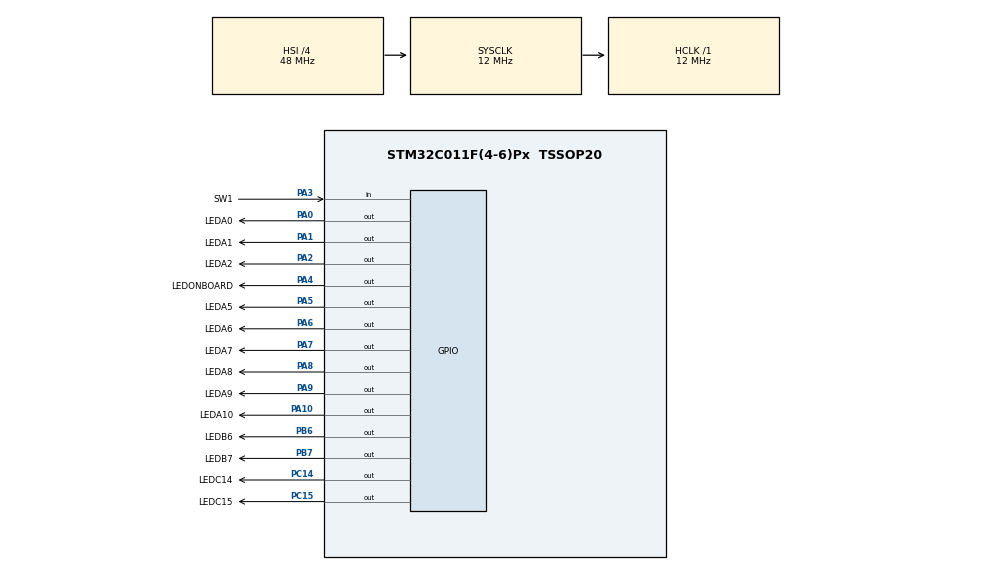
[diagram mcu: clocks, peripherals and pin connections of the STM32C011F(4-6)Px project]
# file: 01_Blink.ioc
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Mcu.Family=STM32C0
Mcu.Name=STM32C011F(4-6)Px
Mcu.Package=TSSOP20
PA0.GPIO_Label=LEDA0
PA0.Signal=GPIO_Output
PA1.GPIO_Label=LEDA1
PA1.Signal=GPIO_Output
PA10\ [PA12].GPIO_Label=LEDA10
PA10\ [PA12].Signal=GPIO_Output
PA13.Mode=Serial_Wire
PA13.Signal=DEBUG_SWDIO
PA14-BOOT0.Mode=Serial_Wire
PA14-BOOT0.Signal=DEBUG_SWCLK
PA2.GPIO_Label=LEDA2
PA2.Signal=GPIO_Output
PA3.GPIO_Label=SW1
PA3.GPIO_PuPd=GPIO_PULLUP
PA3.Signal=GPIO_Input
PA4.GPIO_Label=LEDONBOARD
PA4.Signal=GPIO_Output
PA5.GPIO_Label=LEDA5
PA5.Signal=GPIO_Output
PA6.GPIO_Label=LEDA6
PA6.Signal=GPIO_Output
PA7.GPIO_Label=LEDA7
PA7.Signal=GPIO_Output
PA8.GPIO_Label=LEDA8
PA8.Signal=GPIO_Output
PA9\ [PA11].GPIO_Label=LEDA9
PA9\ [PA11].Signal=GPIO_Output
PB6.GPIO_Label=LEDB6
PB6.Signal=GPIO_Output
PB7.GPIO_Label=LEDB7
PB7.Signal=GPIO_Output
PC14-OSCX_IN\ (PC14).GPIO_Label=LEDC14
PC14-OSCX_IN\ (PC14).Signal=GPIO_Output
PC15-OSCX_OUT\ (PC15).GPIO_Label=LEDC15
PC15-OSCX_OUT\ (PC15).Signal=GPIO_Output
ProjectManager.HeapSize=0x200
ProjectManager.StackSize=0x400
ProjectManager.TargetToolchain=STM32CubeIDE
RCC.ADCFreq_Value=12000000
RCC.AHBFreq_Value=12000000
RCC.CortexFreq_Value=12000000
RCC.EXTERNAL_CLOCK_VALUE=12288000
RCC.HCLKFreq_Value=12000000
RCC.HSE_VALUE=8000000
RCC.HSI_VALUE=48000000
RCC.LSE_VALUE=32768
RCC.SYSCLKFreq_VALUE=12000000
VP_SYS_VS_PINREMAP.Mode=PINREMAP
VP_SYS_VS_PINREMAP_10_12.Mode=PINREMAP_10_12
board=custom

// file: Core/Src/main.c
/* USER CODE BEGIN Header */
/**
  ******************************************************************************
  * @file           : main.c
  * @brief          : Main program body
  ******************************************************************************
  * @attention
  *
  * Copyright (c) 2026 STMicroelectronics.
  * All rights reserved.
  *
  * This software is licensed under terms that can be found in the LICENSE file
  * in the root directory of this software component.
  * If no LICENSE file comes with this software, it is provided AS-IS.
  *
  ******************************************************************************
  */
/* USER CODE END Header */
#include "main.h"
#include "gpio.h"

void SystemClock_Config(void);

/* USER CODE BEGIN 0 */
void SwDelay()
{
	// A cada delay 'inverte' o LEDONBOARD
	HAL_GPIO_TogglePin(LEDONBOARD_GPIO_Port, LEDONBOARD_Pin);
	if (HAL_GPIO_ReadPin(SW1_GPIO_Port, SW1_Pin))
		HAL_Delay(100);
	else
		HAL_Delay(500);
}
/* USER CODE END 0 */

int main(void)
{

  /* MCU Configuration--------------------------------------------------------*/

  /* Reset of all peripherals, Initializes the Flash interface and the Systick. */
  HAL_Init();

  /* Configure the system clock */
  SystemClock_Config();

  /* Initialize all configured peripherals */
  MX_GPIO_Init();

  /* Infinite loop */
  /* USER CODE BEGIN WHILE */
  while (1)
  {
	  // Pisca o LEDONBOARD e cada led na ordam da PCB:  B7-C14-C15-A0-A1-A2-A5-A6-A8-A9-A10-B6-A7
	  // Se a tecla SW1 em A3 estiver pressionada pisca mais rapidamente
	  HAL_GPIO_WritePin(LEDB7_GPIO_Port, LEDB7_Pin, 1);	  SwDelay();
	  HAL_GPIO_WritePin(LEDB7_GPIO_Port, LEDB7_Pin, 0);	  SwDelay();

	  HAL_GPIO_WritePin(LEDC14_GPIO_Port, LEDC14_Pin, 1);	  SwDelay();
	  HAL_GPIO_WritePin(LEDC14_GPIO_Port, LEDC14_Pin, 0);	  SwDelay();

	  HAL_GPIO_WritePin(LEDC15_GPIO_Port, LEDC15_Pin, 1);	  SwDelay();
	  HAL_GPIO_WritePin(LEDC15_GPIO_Port, LEDC15_Pin, 0);	  SwDelay();

	  HAL_GPIO_WritePin(LEDA0_GPIO_Port, LEDA0_Pin, 1);	  SwDelay();
	  HAL_GPIO_WritePin(LEDA0_GPIO_Port, LEDA0_Pin, 0);	  SwDelay();

	  HAL_GPIO_WritePin(LEDA1_GPIO_Port, LEDA1_Pin, 1);	  SwDelay();
	  HAL_GPIO_WritePin(LEDA1_GPIO_Port, LEDA1_Pin, 0);	  SwDelay();

	  HAL_GPIO_WritePin(LEDA2_GPIO_Port, LEDA2_Pin, 1);	  SwDelay();
	  HAL_GPIO_WritePin(LEDA2_GPIO_Port, LEDA2_Pin, 0);	  SwDelay();

	  HAL_GPIO_WritePin(LEDA5_GPIO_Port, LEDA5_Pin, 1);	  SwDelay();
	  HAL_GPIO_WritePin(LEDA5_GPIO_Port, LEDA5_Pin, 0);	  SwDelay();

	  HAL_GPIO_WritePin(LEDA6_GPIO_Port, LEDA6_Pin, 1);	  SwDelay();
	  HAL_GPIO_WritePin(LEDA6_GPIO_Port, LEDA6_Pin, 0);	  SwDelay();

	  HAL_GPIO_WritePin(LEDA8_GPIO_Port, LEDA8_Pin, 1);	  SwDelay();
	  HAL_GPIO_WritePin(LEDA8_GPIO_Port, LEDA8_Pin, 0);	  SwDelay();

	  HAL_GPIO_WritePin(LEDA9_GPIO_Port, LEDA9_Pin, 1);	  SwDelay();
	  HAL_GPIO_WritePin(LEDA9_GPIO_Port, LEDA9_Pin, 0);	  SwDelay();

	  HAL_GPIO_WritePin(LEDA10_GPIO_Port, LEDA10_Pin, 1);	  SwDelay();
	  HAL_GPIO_WritePin(LEDA10_GPIO_Port, LEDA10_Pin, 0);	  SwDelay();

	  HAL_GPIO_WritePin(LEDB6_GPIO_Port, LEDB6_Pin, 1);	  SwDelay();
	  HAL_GPIO_WritePin(LEDB6_GPIO_Port, LEDB6_Pin, 0);	  SwDelay();

	  HAL_GPIO_WritePin(LEDA7_GPIO_Port, LEDA7_Pin, 1);	  SwDelay();
	  HAL_GPIO_WritePin(LEDA7_GPIO_Port, LEDA7_Pin, 0);	  SwDelay();

	  /* USER CODE END WHILE */

  }
}

void SystemClock_Config(void)
{
  RCC_OscInitTypeDef RCC_OscInitStruct = {0};
  RCC_ClkInitTypeDef RCC_ClkInitStruct = {0};

  __HAL_FLASH_SET_LATENCY(FLASH_LATENCY_0);

  /** Initializes the RCC Oscillators according to the specified parameters
  * in the RCC_OscInitTypeDef structure.
  */
  RCC_OscInitStruct.OscillatorType = RCC_OSCILLATORTYPE_HSI;
  RCC_OscInitStruct.HSIState = RCC_HSI_ON;
  RCC_OscInitStruct.HSIDiv = RCC_HSI_DIV4;
  RCC_OscInitStruct.HSICalibrationValue = RCC_HSICALIBRATION_DEFAULT;
  if (HAL_RCC_OscConfig(&RCC_OscInitStruct) != HAL_OK)
  {
    Error_Handler();
  }

  /** Initializes the CPU, AHB and APB buses clocks
  */
  RCC_ClkInitStruct.ClockType = RCC_CLOCKTYPE_HCLK|RCC_CLOCKTYPE_SYSCLK
                              |RCC_CLOCKTYPE_PCLK1;
  RCC_ClkInitStruct.SYSCLKSource = RCC_SYSCLKSOURCE_HSI;
  RCC_ClkInitStruct.SYSCLKDivider = RCC_SYSCLK_DIV1;
  RCC_ClkInitStruct.AHBCLKDivider = RCC_HCLK_DIV1;
  RCC_ClkInitStruct.APB1CLKDivider = RCC_APB1_DIV1;

  if (HAL_RCC_ClockConfig(&RCC_ClkInitStruct, FLASH_LATENCY_0) != HAL_OK)
  {
    Error_Handler();
  }
}

void Error_Handler(void)
{
  __disable_irq();
  while (1)
  {
  }
}
